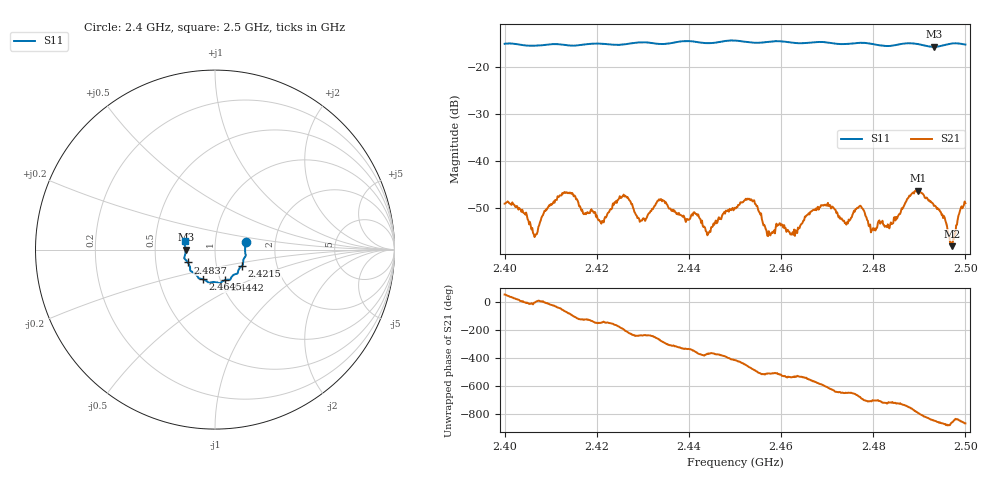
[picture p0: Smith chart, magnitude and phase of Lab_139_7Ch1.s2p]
# Hz S RI R 50
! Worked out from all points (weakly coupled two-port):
!   601 points, 2.4 GHz to 2.5 GHz, reference 50 ohm
!   highest |S21| = -46.38 dB at 2.4897 GHz (marker M1); lowest = -58.2 dB at 2.4972 GHz (marker M2)
!   lowest |S11| = -15.7 dB at 2.4932 GHz (marker M3), VSWR 1.39, Z = 36 - j0.0558 ohm
!   |S11| at or under -10 dB: start of sweep to end of sweep
!   S12 and S22 are empty: the file has one direction only
!   S11 on the Smith chart (normalised r, x): 2.4 GHz: 1.41, +0.12; 2.4215 GHz: 1.33, -0.25; 2.4442 GHz: 1.05, -0.37; 2.4645 GHz: 0.83, -0.29; 2.4837 GHz: 0.73, -0.11; 2.5 GHz: 0.71, +0.07
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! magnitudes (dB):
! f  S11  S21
! 2.4 GHz  -15.1  -49.2
! 2.4067 GHz  -15.5  -55.9
! 2.4125 GHz  -15.3  -46.9
! 2.4167 GHz  -15.3  -50.7
! 2.4215 GHz  -15.1  -53.2
! 2.4255 GHz  -15.3  -47.7
! 2.4293 GHz  -14.8  -53.0
! 2.4333 GHz  -15.1  -48.6
! 2.4442 GHz  -15.0  -55.6
! 2.45 GHz  -14.4  -50.0
! 2.4537 GHz  -14.8  -48.4
! 2.4575 GHz  -14.6  -55.7
! 2.4645 GHz  -15.0  -53.4
! 2.4667 GHz  -14.8  -50.7
! 2.4772 GHz  -14.9  -49.6
! 2.48 GHz  -15.2  -54.4
! 2.4833 GHz  -15.6  -54.2
! 2.4837 GHz  -15.5  -53.7
! 2.4897 GHz  -15.1  -46.4
! 2.4932 GHz  -15.7  -49.6
! 2.4972 GHz  -15.0  -58.2
! 2.5 GHz  -15.3  -49.1
